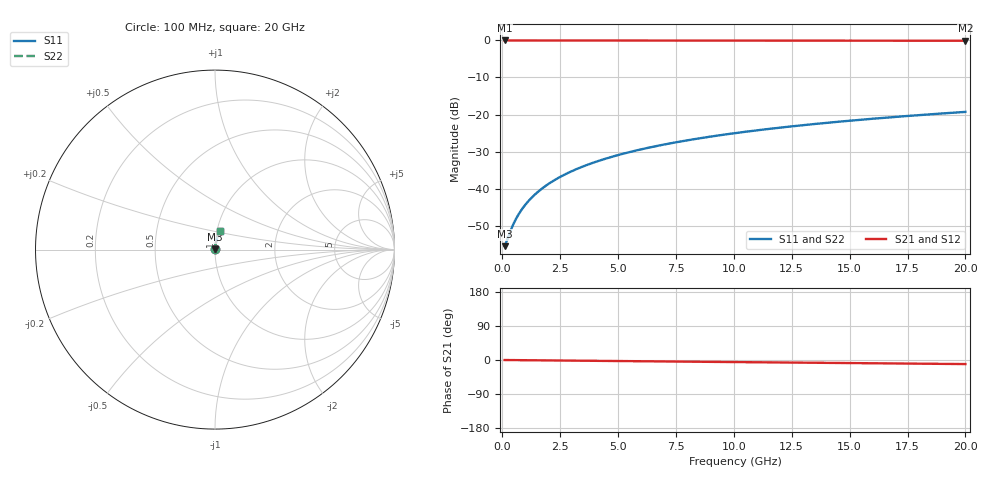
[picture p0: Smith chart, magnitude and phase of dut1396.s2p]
! Touchstone file exported from HFSS 2026.1.0
!  File:  C:/ffzhzh/LocalFiles/Ansys_Project_Files/temp_train_BSMRDL_1396_1783179794_22436.aedt
!  Generated:  11:44:26 PM Jul  4, 2026
!  Design:  BSMRDL
!  Project:  temp_train_BSMRDL_1396_1783179794_22436
! Variables:
!  h_bsmrdl = 3.21um
!  h_ox = 20um
!  h_rdl = 5um
!  h_sub = 80um
!  h_tmrdl = 5um
!  h_tsv = 80um
!  h_via = 3um
!  l_bsmrdl = 140.07um
!  l_sub = 540.07um
!  l_tmrdl = 200um
!  m_sub = 200um
!  pitch = 25.93um
!  r_tsv = 6um
!  s_tmrdl = 10um
!  w_bsmrdl = 11.21um
!  w_sub = 500um
!  w_tmrdl = 12um
!  x_tsv_center1 = 206um
!  x_tsv_center2 = 357.28um
!  x_tsv_center3 = 569.28um
!  x_tsv_center4 = 720.56um
!  x_tsv_center5 = 932.56um
!  x_tsv_center6 = 1083.84um
# GHz S MA R 50.000000
! Terminal data exported
! Port[1] = BSM_RDL1_1_T1
! Port[2] = BSM_RDL1_1_T2
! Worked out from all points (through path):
!   200 points, 100 MHz to 20 GHz, reference 50 ohm
!   highest |S21| = -0.01 dB at 100 MHz (marker M1); lowest = -0.1 dB at 20 GHz (marker M2)
!   group delay of S21, straight-line fit = 1.49 ps
!   lowest |S11| = -55.5 dB at 100 MHz (marker M3), VSWR 1.00, Z = 50.2 + j0.0617 ohm
!   |S11| at or under -10 dB: start of sweep to end of sweep
!   |S22| runs from -55.5 to -19.3 dB; largest |S21 - S12| = 4.2e-15
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0.1  0.001674 21.5  0.9984 -0.1  0.9984 -0.1  0.001674 21.5
! Gamma 0 0 0 0
! Port Impedance 50 0 50 0
0.4  0.002919 55.6  0.9984 -0.2  0.9984 -0.2  0.002919 55.6
0.5  0.003429 60.5  0.9983 -0.3  0.9983 -0.3  0.003429 60.5
0.6  0.003951 64.1  0.9983 -0.3  0.9983 -0.3  0.003951 64.1
0.7  0.00448 66.9  0.9983 -0.4  0.9983 -0.4  0.00448 66.9
0.9  0.005553 70.9  0.9982 -0.5  0.9982 -0.5  0.005553 70.9
1.1  0.006638 73.6  0.9982 -0.6  0.9982 -0.6  0.006638 73.6
1.3  0.007734 75.6  0.9981 -0.7  0.9981 -0.7  0.007734 75.6
1.7  0.009944 78.2  0.9981 -0.9  0.9981 -0.9  0.009944 78.2
2.2  0.01273 80.0  0.998 -1.2  0.998 -1.2  0.01273 80.0
2.8  0.01608 81.3  0.9979 -1.5  0.9979 -1.5  0.01608 81.3
3.5  0.02 82.0  0.9977 -1.9  0.9977 -1.9  0.02 82.1
4.2  0.02392 82.4  0.9975 -2.3  0.9975 -2.3  0.02392 82.4
5  0.02838 82.5  0.9973 -2.7  0.9973 -2.7  0.02838 82.5
5.9  0.03338 82.5  0.997 -3.2  0.997 -3.2  0.03338 82.5
6.8  0.03835 82.3  0.9966 -3.7  0.9966 -3.7  0.03835 82.3
8.3  0.04658 81.8  0.996 -4.5  0.996 -4.5  0.04658 81.8
10.1  0.05636 81.1  0.9951 -5.5  0.9951 -5.5  0.05636 81.1
11.7  0.06496 80.4  0.9942 -6.4  0.9942 -6.4  0.06496 80.4
13.4  0.07402 79.7  0.9933 -7.3  0.9933 -7.3  0.07402 79.7
16.7  0.09141 78.1  0.9913 -9.0  0.9913 -9.0  0.09141 78.1
20  0.1085 76.6  0.989 -10.7  0.989 -10.7  0.1085 76.6
